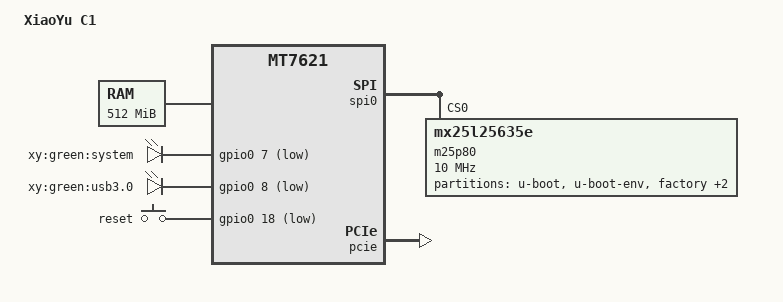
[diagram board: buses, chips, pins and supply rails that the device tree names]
/dts-v1/;

#include "mt7621.dtsi"

#include <dt-bindings/gpio/gpio.h>
#include <dt-bindings/input/input.h>

/ {
	compatible = "xiaoyu,c1", "mediatek,mt7621-soc";
	model = "XiaoYu C1";

	aliases {
		led-boot = &led_system;
		led-failsafe = &led_system;
		led-running = &led_system;
		led-upgrade = &led_system;
	};

	memory@0 {
		device_type = "memory";
		reg = <0x0 0x1c000000>, <0x20000000 0x4000000>;
	};

	chosen {
		bootargs = "console=ttyS0,115200";
	};

	gpio-leds {
		compatible = "gpio-leds";

		led_system:system {
			label = "xy:green:system";
			gpios = <&gpio0 7 GPIO_ACTIVE_LOW>;
		};

		work {
			label = "xy:green:usb3.0";
			gpios = <&gpio0 8 GPIO_ACTIVE_LOW>;
		};
	};

	gpio-keys-polled {
		compatible = "gpio-keys-polled";
		#address-cells = <1>;
		#size-cells = <0>;
		poll-interval = <20>;

		reset {
			label = "reset";
			gpios = <&gpio0 18 GPIO_ACTIVE_LOW>;
			linux,code = <KEY_RESTART>;
		};
	};
};


&spi0 {
	status = "okay";

	m25p80@0 {
		#address-cells = <1>;
		#size-cells = <1>;
		compatible = "mx25l25635e";
		reg = <0x0 0x0>;
		linux,modalias = "m25p80";
		spi-max-frequency = <10000000>;

		partition@0 {
			label = "u-boot";
			reg = <0x0 0x30000>;
			read-only;
		};

		partition@30000 {
			label = "u-boot-env";
			reg = <0x30000 0x10000>;
			read-only;
		};

		factory: partition@40000 {
			label = "factory";
			reg = <0x40000 0x10000>;
				read-only;
		};

		partition@50000 {
			compatible = "denx,uimage";
			label = "firmware";
			reg = <0x50000 0x1fa0000>;
		};

		partition@1ff0000 {
			label = "mib0";
			reg = <0x1ff0000 0x10000>;
		};
	};
};

&pcie {
	status = "okay";
};

&ethernet {
	mtd-mac-address = <&factory 0x4>;
};

&pinctrl {
	state_default: pinctrl0 {
		gpio {
			ralink,group = "i2c", "jtag", "uart2", "uart3";
			ralink,function = "gpio";
		};
	};
};

	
